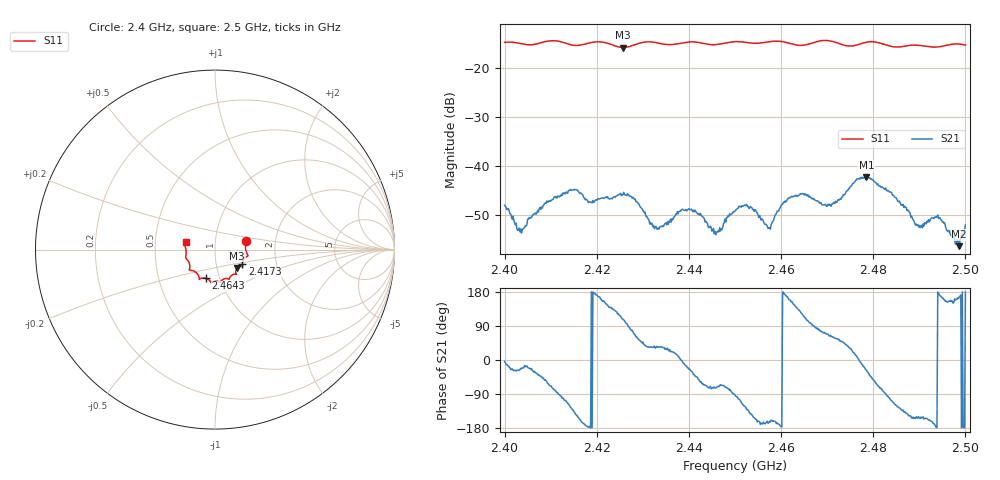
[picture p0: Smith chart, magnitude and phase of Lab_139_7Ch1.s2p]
# Hz S RI R 50
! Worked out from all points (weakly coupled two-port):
!   601 points, 2.4 GHz to 2.5 GHz, reference 50 ohm
!   highest |S21| = -42.23 dB at 2.4785 GHz (marker M1); lowest = -56.2 dB at 2.4987 GHz (marker M2)
!   lowest |S11| = -15.9 dB at 2.4257 GHz (marker M3), VSWR 1.38, Z = 62.4 - j13.1 ohm
!   |S11| at or under -10 dB: start of sweep to end of sweep
!   S12 and S22 are empty: the file has one direction only
!   S11 on the Smith chart (normalised r, x): 2.4 GHz: 1.41, +0.14; 2.4173 GHz: 1.34, -0.23; 2.4643 GHz: 0.86, -0.28; 2.5 GHz: 0.72, +0.06
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2.4e9  0.1734 0.0494  0.00401 -0.000244  0 0  0 0
2.403333e9  0.1729 0.0321  0.00195 -0.000927  0 0  0 0
2.409167e9  0.1823 -0.0293  0.00238 -0.00373  0 0  0 0
2.416667e9  0.1525 -0.0749  -0.00502 -0.00153  0 0  0 0
2.417333e9  0.152 -0.0823  -0.00467 -0.000777  0 0  0 0
2.425667e9  0.1226 -0.1024  -0.00154 0.00488  0 0  0 0
2.433333e9  0.1128 -0.1365  0.00196 0.0013  0 0  0 0
2.440167e9  0.0796 -0.1637  0.0033 -0.00151  0 0  0 0
2.446e9  0.0473 -0.1645  0.000669 -0.00203  0 0  0 0
2.45e9  0.0296 -0.1808  -0.000153 -0.00351  0 0  0 0
2.453e9  0.0175 -0.1773  -0.00267 -0.00261  0 0  0 0
2.457333e9  -0.0157 -0.1821  -0.0023 -0.00062  0 0  0 0
2.460333e9  -0.0242 -0.1815  -0.0041 4.13e-05  0 0  0 0
2.464333e9  -0.0502 -0.1601  -0.00291 0.00428  0 0  0 0
2.466667e9  -0.076 -0.1596  -0.000361 0.00464  0 0  0 0
2.470833e9  -0.0869 -0.164  0.00175 0.0035  0 0  0 0
2.4785e9  -0.1389 -0.1157  0.00691 -0.00348  0 0  0 0
2.483333e9  -0.1404 -0.0893  -0.000877 -0.00552  0 0  0 0
2.489667e9  -0.1629 -0.0434  -0.00228 -0.00113  0 0  0 0
2.494e9  -0.1618 -0.00113  -0.0032 2.56e-05  0 0  0 0
2.498667e9  -0.1697 0.0344  -0.0015 0.000369  0 0  0 0
2.5e9  -0.164 0.0419  -0.00253 2.3e-05  0 0  0 0
